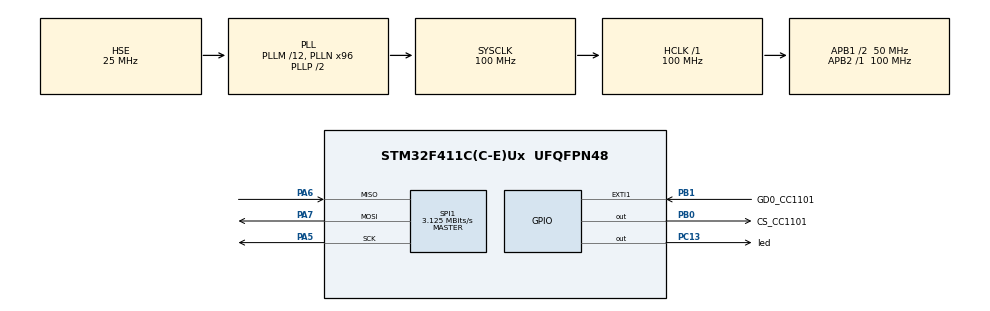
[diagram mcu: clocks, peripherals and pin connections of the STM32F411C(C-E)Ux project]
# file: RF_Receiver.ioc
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Mcu.Family=STM32F4
Mcu.Name=STM32F411C(C-E)Ux
Mcu.Package=UFQFPN48
NVIC.PriorityGroup=NVIC_PRIORITYGROUP_4
PA13.Mode=Serial_Wire
PA13.Signal=SYS_JTMS-SWDIO
PA14.Mode=Serial_Wire
PA14.Signal=SYS_JTCK-SWCLK
PA5.Mode=Full_Duplex_Master
PA5.Signal=SPI1_SCK
PA6.Mode=Full_Duplex_Master
PA6.Signal=SPI1_MISO
PA7.Mode=Full_Duplex_Master
PA7.Signal=SPI1_MOSI
PB0.GPIO_Label=CS_CC1101
PB0.Signal=GPIO_Output
PB1.GPIO_Label=GD0_CC1101
PB1.Signal=GPXTI1
PC13-ANTI_TAMP.GPIO_Label=led
PC13-ANTI_TAMP.Signal=GPIO_Output
PH0\ -\ OSC_IN.Mode=HSE-External-Oscillator
PH0\ -\ OSC_IN.Signal=RCC_OSC_IN
PH1\ -\ OSC_OUT.Mode=HSE-External-Oscillator
PH1\ -\ OSC_OUT.Signal=RCC_OSC_OUT
ProjectManager.HeapSize=0x200
ProjectManager.StackSize=0x400
ProjectManager.TargetToolchain=CMake
RCC.48MHZClocksFreq_Value=50000000
RCC.AHBFreq_Value=100000000
RCC.APB1CLKDivider=RCC_HCLK_DIV2
RCC.APB1Freq_Value=50000000
RCC.APB1TimFreq_Value=100000000
RCC.APB2Freq_Value=100000000
RCC.APB2TimFreq_Value=100000000
RCC.CortexFreq_Value=100000000
RCC.HCLKFreq_Value=100000000
RCC.HSE_VALUE=25000000
RCC.HSI_VALUE=16000000
RCC.LSE_VALUE=32768
RCC.PLLM=12
RCC.PLLN=96
RCC.PLLSourceVirtual=RCC_PLLSOURCE_HSE
RCC.SYSCLKFreq_VALUE=100000000
RCC.SYSCLKSource=RCC_SYSCLKSOURCE_PLLCLK
RCC.VCOOutputFreq_Value=200000000
SPI1.BaudRatePrescaler=SPI_BAUDRATEPRESCALER_32
SPI1.CalculateBaudRate=3.125 MBits/s
SPI1.Direction=SPI_DIRECTION_2LINES
SPI1.Mode=SPI_MODE_MASTER
SPI1.VirtualType=VM_MASTER
board=custom

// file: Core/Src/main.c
/* USER CODE BEGIN Header */
/**
  ******************************************************************************
  * @file           : main.c
  * @brief          : Main program body
  ******************************************************************************
  * @attention
  *
  * Copyright (c) 2026 STMicroelectronics.
  * All rights reserved.
  *
  * This software is licensed under terms that can be found in the LICENSE file
  * in the root directory of this software component.
  * If no LICENSE file comes with this software, it is provided AS-IS.
  *
  ******************************************************************************
  */
/* USER CODE END Header */
#include "main.h"

/* USER CODE BEGIN Includes */
#include "cc1101.h"
#include "stm32f4xx_hal.h"
#include "stm32f4xx_hal_gpio.h"
#include <stdint.h>
#include <sys/types.h>
/* USER CODE END Includes */

SPI_HandleTypeDef hspi1;

/* USER CODE BEGIN PV */
uint8_t rx_buffer[64];
uint8_t rx_len = 0;
uint8_t received_count = 0;
int16_t rssi_value = 0;
uint8_t PartNum = 0;
uint8_t Version = 0;
uint8_t marcstate = 0;
uint8_t rxbytes = 0;
/* USER CODE END PV */

void SystemClock_Config(void);
static void MX_GPIO_Init(void);
static void MX_SPI1_Init(void);

int main(void)
{

  /* MCU Configuration--------------------------------------------------------*/

  /* Reset of all peripherals, Initializes the Flash interface and the Systick. */
  HAL_Init();

  /* Configure the system clock */
  SystemClock_Config();

  /* Initialize all configured peripherals */
  MX_GPIO_Init();
  MX_SPI1_Init();
  /* USER CODE BEGIN 2 */
  CC1101_t cc1101 = {
      .hspi = &hspi1,
      .csPort = CS_CC1101_GPIO_Port,
      .csPin = CS_CC1101_Pin,
      .gdo0Port = GD0_CC1101_GPIO_Port,
      .gdo0Pin = GD0_CC1101_Pin
  };
  if (!CC1101_Init(&cc1101)) {
      // Initialization failed, handle error (e.g., blink LED)
      while (1) {
          HAL_GPIO_TogglePin(led_GPIO_Port, led_Pin);
          HAL_Delay(500);
      }
  }
  PartNum = CC1101_ReadReg(&cc1101, CC1101_PARTNUM);
  Version = CC1101_ReadReg(&cc1101, CC1101_VERSION);
  /* USER CODE END 2 */

  /* Infinite loop */
  /* USER CODE BEGIN WHILE */
  CC1101_Strobe(&cc1101, CC1101_SRX); // Start in RX mode
  HAL_Delay(100);
  while (1)
  {
      // 1. Gently poll the RXBYTES status register (MUST use ReadStatus with 0xC0)
      rxbytes = CC1101_ReadStatus(&cc1101, CC1101_RXBYTES) & 0x7F;

      // 2. A 1-byte payload packet will be 3 bytes in the FIFO (Length + Payload + 2 Status)
      // Wait... 1 byte payload = 1 (length) + 1 (data) + 2 (status) = 4 bytes total.
      if (rxbytes >= 4)
      {
        // The FIFO has our data! Safely read it out.
        rx_len = CC1101_ReceivePacket(&cc1101, rx_buffer);
        received_count = rx_buffer[0];

        if (rx_len > 0)
        {
          rssi_value = CC1101_GetRSSI(rx_buffer, rx_len);

          HAL_GPIO_TogglePin(led_GPIO_Port, led_Pin); // Packet secured!
        }

        // Flush and reset to listening mode
        CC1101_Strobe(&cc1101, CC1101_SIDLE);
        CC1101_Strobe(&cc1101, CC1101_SFRX);
        CC1101_Strobe(&cc1101, CC1101_SRX);
      }
      else
      {
        // 3. THE THROTTLE: If no packet is ready, sleep for 20ms.
        // This allows the CC1101 to process incoming RF without SPI collisions.
        HAL_Delay(20);
      }

      // Safety check for overflows
      marcstate = CC1101_ReadStatus(&cc1101, CC1101_MARCSTATE) & 0x1F;
      if (marcstate == 0x11)
      {
        CC1101_Strobe(&cc1101, CC1101_SIDLE);
        CC1101_Strobe(&cc1101, CC1101_SFRX);
        CC1101_Strobe(&cc1101, CC1101_SRX);
      }
    /* USER CODE END WHILE */

  }
}

void SystemClock_Config(void)
{
  RCC_OscInitTypeDef RCC_OscInitStruct = {0};
  RCC_ClkInitTypeDef RCC_ClkInitStruct = {0};

  /** Configure the main internal regulator output voltage
  */
  __HAL_RCC_PWR_CLK_ENABLE();
  __HAL_PWR_VOLTAGESCALING_CONFIG(PWR_REGULATOR_VOLTAGE_SCALE1);

  /** Initializes the RCC Oscillators according to the specified parameters
  * in the RCC_OscInitTypeDef structure.
  */
  RCC_OscInitStruct.OscillatorType = RCC_OSCILLATORTYPE_HSE;
  RCC_OscInitStruct.HSEState = RCC_HSE_ON;
  RCC_OscInitStruct.PLL.PLLState = RCC_PLL_ON;
  RCC_OscInitStruct.PLL.PLLSource = RCC_PLLSOURCE_HSE;
  RCC_OscInitStruct.PLL.PLLM = 12;
  RCC_OscInitStruct.PLL.PLLN = 96;
  RCC_OscInitStruct.PLL.PLLP = RCC_PLLP_DIV2;
  RCC_OscInitStruct.PLL.PLLQ = 4;
  if (HAL_RCC_OscConfig(&RCC_OscInitStruct) != HAL_OK)
  {
    Error_Handler();
  }

  /** Initializes the CPU, AHB and APB buses clocks
  */
  RCC_ClkInitStruct.ClockType = RCC_CLOCKTYPE_HCLK|RCC_CLOCKTYPE_SYSCLK
                              |RCC_CLOCKTYPE_PCLK1|RCC_CLOCKTYPE_PCLK2;
  RCC_ClkInitStruct.SYSCLKSource = RCC_SYSCLKSOURCE_PLLCLK;
  RCC_ClkInitStruct.AHBCLKDivider = RCC_SYSCLK_DIV1;
  RCC_ClkInitStruct.APB1CLKDivider = RCC_HCLK_DIV2;
  RCC_ClkInitStruct.APB2CLKDivider = RCC_HCLK_DIV1;

  if (HAL_RCC_ClockConfig(&RCC_ClkInitStruct, FLASH_LATENCY_3) != HAL_OK)
  {
    Error_Handler();
  }
}

static void MX_SPI1_Init(void)
{

  /* SPI1 parameter configuration*/
  hspi1.Instance = SPI1;
  hspi1.Init.Mode = SPI_MODE_MASTER;
  hspi1.Init.Direction = SPI_DIRECTION_2LINES;
  hspi1.Init.DataSize = SPI_DATASIZE_8BIT;
  hspi1.Init.CLKPolarity = SPI_POLARITY_LOW;
  hspi1.Init.CLKPhase = SPI_PHASE_1EDGE;
  hspi1.Init.NSS = SPI_NSS_SOFT;
  hspi1.Init.BaudRatePrescaler = SPI_BAUDRATEPRESCALER_32;
  hspi1.Init.FirstBit = SPI_FIRSTBIT_MSB;
  hspi1.Init.TIMode = SPI_TIMODE_DISABLE;
  hspi1.Init.CRCCalculation = SPI_CRCCALCULATION_DISABLE;
  hspi1.Init.CRCPolynomial = 10;
  if (HAL_SPI_Init(&hspi1) != HAL_OK)
  {
    Error_Handler();
  }

}

static void MX_GPIO_Init(void)
{
  GPIO_InitTypeDef GPIO_InitStruct = {0};

  /* GPIO Ports Clock Enable */
  __HAL_RCC_GPIOC_CLK_ENABLE();
  __HAL_RCC_GPIOH_CLK_ENABLE();
  __HAL_RCC_GPIOA_CLK_ENABLE();
  __HAL_RCC_GPIOB_CLK_ENABLE();

  /*Configure GPIO pin Output Level */
  HAL_GPIO_WritePin(led_GPIO_Port, led_Pin, GPIO_PIN_RESET);

  /*Configure GPIO pin Output Level */
  HAL_GPIO_WritePin(CS_CC1101_GPIO_Port, CS_CC1101_Pin, GPIO_PIN_RESET);

  /*Configure GPIO pin : led_Pin */
  GPIO_InitStruct.Pin = led_Pin;
  GPIO_InitStruct.Mode = GPIO_MODE_OUTPUT_PP;
  GPIO_InitStruct.Pull = GPIO_NOPULL;
  GPIO_InitStruct.Speed = GPIO_SPEED_FREQ_LOW;
  HAL_GPIO_Init(led_GPIO_Port, &GPIO_InitStruct);

  /*Configure GPIO pin : CS_CC1101_Pin */
  GPIO_InitStruct.Pin = CS_CC1101_Pin;
  GPIO_InitStruct.Mode = GPIO_MODE_OUTPUT_PP;
  GPIO_InitStruct.Pull = GPIO_NOPULL;
  GPIO_InitStruct.Speed = GPIO_SPEED_FREQ_LOW;
  HAL_GPIO_Init(CS_CC1101_GPIO_Port, &GPIO_InitStruct);

  /*Configure GPIO pin : GD0_CC1101_Pin */
  GPIO_InitStruct.Pin = GD0_CC1101_Pin;
  GPIO_InitStruct.Mode = GPIO_MODE_IT_RISING;
  GPIO_InitStruct.Pull = GPIO_NOPULL;
  HAL_GPIO_Init(GD0_CC1101_GPIO_Port, &GPIO_InitStruct);

}

void Error_Handler(void)
{
  __disable_irq();
  while (1)
  {
  }
}
